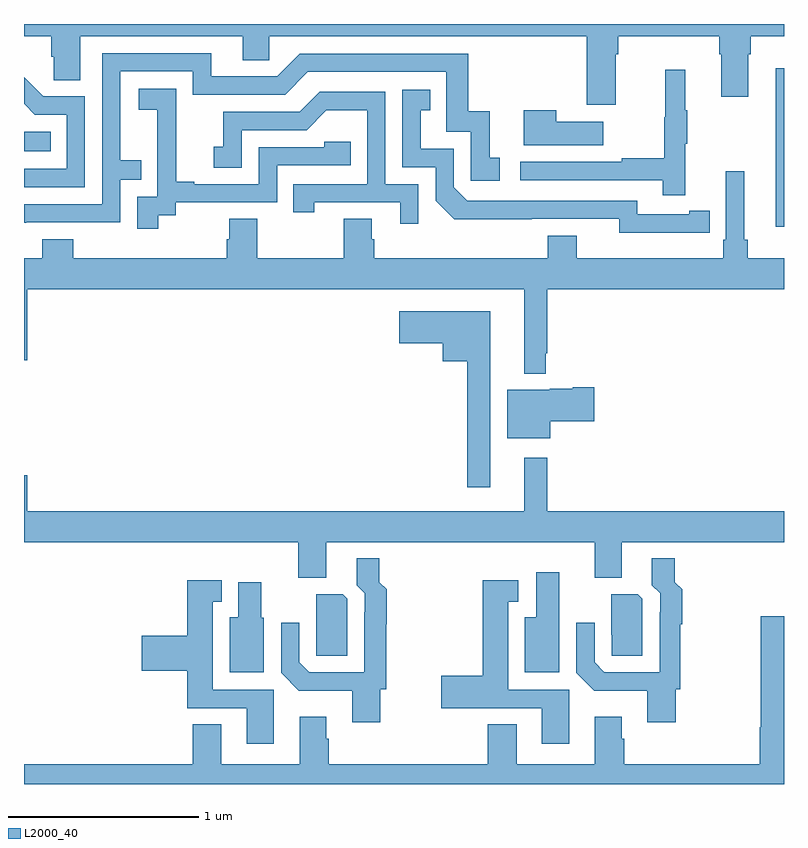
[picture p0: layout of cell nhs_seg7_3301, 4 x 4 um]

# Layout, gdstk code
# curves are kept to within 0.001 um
import gdstk
lib = gdstk.Library(unit=1e-6, precision=1e-09)
def R(c, l, rs):  # rectangles x0, y0, x1, y1
    for r in rs: c.add(gdstk.rectangle(r[:2], r[2:], *l))
def P(c, l, *ps):  # polygons
    for p in ps: c.add(gdstk.Polygon(p, *l))
L2000_40 = (2000, 40)

nhs_seg7_3301 = lib.new_cell('nhs_seg7_3301')
R(nhs_seg7_3301, L2000_40, [(324.956,1012.932,325,1013.767), (321,1013.33,321.14,1013.434)])
P(nhs_seg7_3301, L2000_40, [(324.115,1013.84),(324.128,1013.84),(324.128,1013.936),(324.659,1013.936),(324.659,1013.84),(324.671,1013.84),(324.671,1013.616),(324.811,1013.616),(324.811,1013.84),(324.824,1013.84),(324.824,1013.936),(325,1013.936),(325,1014),(321,1014),(321,1013.936),(321.143,1013.936),(321.143,1013.827),(321.156,1013.827),(321.156,1013.704),(321.295,1013.704),(321.295,1013.936),(322.151,1013.936),(322.151,1013.809),(322.29,1013.809),(322.29,1013.936),(323.963,1013.936),(323.963,1013.574),(324.115,1013.574)],
  [(321.011,1012.956),(321.507,1012.956),(321.507,1013.181),(321.617,1013.181),(321.617,1013.282),(321.507,1013.282),(321.507,1013.751),(321.888,1013.751),(321.888,1013.628),(322.374,1013.628),(322.494,1013.748),(323.223,1013.748),(323.223,1013.433),(323.352,1013.433),(323.352,1013.175),(323.503,1013.175),(323.503,1013.295),(323.45,1013.295),(323.45,1013.542),(323.339,1013.542),(323.339,1013.844),(322.452,1013.844),(322.332,1013.724),(321.985,1013.724),(321.985,1013.847),(321.411,1013.847),(321.411,1013.052),(321,1013.052),(321,1012.955)],
  [(324.479,1013.371),(324.49,1013.371),(324.49,1013.545),(324.479,1013.545),(324.479,1013.758),(324.376,1013.758),(324.376,1013.508),(324.369,1013.508),(324.369,1013.294),(324.145,1013.294),(324.145,1013.274),(323.613,1013.274),(323.613,1013.178),(324.361,1013.178),(324.361,1013.1),(324.479,1013.1)],
  [(321.321,1013.619),(321.102,1013.619),(321,1013.721),(321,1013.579),(321.056,1013.523),(321.225,1013.523),(321.225,1013.238),(321,1013.238),(321,1013.142),(321.321,1013.142)],
  [(321.706,1012.993),(321.798,1012.993),(321.798,1013.061),(322.332,1013.061),(322.332,1013.256),(322.721,1013.256),(322.721,1013.379),(322.581,1013.379),(322.581,1013.352),(322.236,1013.352),(322.236,1013.157),(321.895,1013.157),(321.895,1013.17),(321.8,1013.17),(321.8,1013.453),(321.801,1013.453),(321.801,1013.659),(321.603,1013.659),(321.603,1013.549),(321.701,1013.549),(321.701,1013.321),(321.702,1013.321),(321.702,1013.091),(321.597,1013.091),(321.597,1012.923),(321.706,1012.923)],
  [(324.5,1012.902),(324.608,1012.902),(324.608,1013.018),(324.5,1013.018),(324.5,1012.998),(324.228,1012.998),(324.228,1013.07),(323.334,1013.07),(323.262,1013.142),(323.262,1013.343),(323.089,1013.343),(323.089,1013.547),(323.138,1013.547),(323.138,1013.653),(322.992,1013.653),(322.992,1013.247),(323.166,1013.247),(323.166,1013.07),(323.264,1012.973),(324.132,1012.974),(324.132,1012.901)],
  [(323.076,1013.157),(322.902,1013.157),(322.902,1013.643),(322.556,1013.643),(322.451,1013.538),(322.048,1013.538),(322.048,1013.353),(321.999,1013.353),(321.999,1013.244),(322.146,1013.244),(322.146,1013.442),(322.488,1013.442),(322.592,1013.546),(322.806,1013.546),(322.806,1013.157),(322.417,1013.157),(322.417,1013.01),(322.528,1013.01),(322.528,1013.061),(322.979,1013.061),(322.979,1012.95),(323.076,1012.95)],
  [(324.049,1013.485),(323.801,1013.485),(323.801,1013.545),(323.63,1013.545),(323.63,1013.363),(324.049,1013.363)],
  [(323.747,1012.267),(323.755,1012.267),(323.755,1012.604),(325,1012.604),(325,1012.768),(324.809,1012.768),(324.809,1012.864),(324.79,1012.864),(324.79,1013.224),(324.693,1013.224),(324.693,1012.864),(324.68,1012.864),(324.68,1012.768),(323.908,1012.768),(323.908,1012.885),(323.756,1012.885),(323.756,1012.768),(322.844,1012.768),(322.844,1012.866),(322.831,1012.866),(322.831,1012.976),(322.684,1012.976),(322.684,1012.768),(322.227,1012.768),(322.227,1012.976),(322.079,1012.976),(322.079,1012.866),(322.067,1012.866),(322.067,1012.768),(321.26,1012.768),(321.26,1012.867),(321.095,1012.867),(321.095,1012.768),(321,1012.768),(321,1012.23),(321.016,1012.23),(321.016,1012.604),(323.633,1012.604),(323.633,1012.16),(323.747,1012.16)],
  [(323.455,1012.489),(322.974,1012.489),(322.974,1012.319),(323.204,1012.319),(323.204,1012.226),(323.334,1012.226),(323.334,1011.561),(323.455,1011.561)],
  [(323.77,1011.91),(324.001,1011.91),(324.001,1012.088),(323.888,1012.088),(323.888,1012.081),(323.766,1012.081),(323.766,1012.075),(323.543,1012.075),(323.543,1011.821),(323.77,1011.821)],
  [(322.591,1011.272),(324.005,1011.272),(324.005,1011.085),(324.145,1011.085),(324.145,1011.272),(325,1011.272),(325,1011.436),(323.755,1011.436),(323.755,1011.718),(323.633,1011.718),(323.633,1011.436),(321.016,1011.436),(321.016,1011.625),(321,1011.625),(321,1011.272),(322.444,1011.272),(322.444,1011.085),(322.591,1011.085)],
  [(324.429,1010.499),(324.454,1010.499),(324.454,1010.842),(324.464,1010.842),(324.464,1011.024),(324.425,1011.063),(324.425,1011.187),(324.305,1011.187),(324.305,1011.046),(324.348,1011.003),(324.348,1010.903),(324.345,1010.903),(324.345,1010.589),(324.054,1010.589),(324.003,1010.64),(324.003,1010.848),(323.907,1010.848),(323.907,1010.586),(324.001,1010.492),(324.281,1010.492),(324.281,1010.325),(324.429,1010.325)],
  [(322.875,1010.499),(322.907,1010.499),(322.907,1010.842),(322.91,1010.842),(322.91,1011.024),(322.871,1011.063),(322.871,1011.187),(322.751,1011.187),(322.751,1011.046),(322.794,1011.003),(322.794,1010.903),(322.791,1010.903),(322.791,1010.589),(322.5,1010.589),(322.449,1010.64),(322.449,1010.848),(322.353,1010.848),(322.353,1010.586),(322.447,1010.492),(322.727,1010.492),(322.727,1010.325),(322.875,1010.325)],
  [(323.818,1011.115),(323.696,1011.115),(323.696,1010.878),(323.636,1010.878),(323.636,1010.588),(323.818,1010.588)],
  [(323.869,1010.496),(323.548,1010.496),(323.548,1010.96),(323.602,1010.96),(323.602,1011.073),(323.414,1011.073),(323.414,1010.57),(323.196,1010.57),(323.196,1010.399),(323.457,1010.399),(323.457,1010.4),(323.726,1010.4),(323.726,1010.211),(323.869,1010.211)],
  [(322.315,1010.496),(321.994,1010.496),(321.994,1010.96),(322.042,1010.96),(322.042,1011.073),(321.86,1011.073),(321.86,1010.78),(321.621,1010.78),(321.621,1010.597),(321.86,1010.597),(321.86,1010.4),(322.172,1010.4),(322.172,1010.211),(322.315,1010.211)],
  [(322.261,1010.874),(322.249,1010.874),(322.249,1011.061),(322.127,1011.061),(322.127,1010.878),(322.082,1010.878),(322.082,1010.588),(322.261,1010.588)],
  [(324.255,1010.976),(324.231,1011),(324.092,1011),(324.092,1010.785),(324.093,1010.785),(324.093,1010.674),(324.255,1010.674)],
  [(322.701,1010.976),(322.677,1011),(322.538,1011),(322.538,1010.785),(322.539,1010.785),(322.539,1010.674),(322.701,1010.674)],
  [(325,1010.883),(324.877,1010.883),(324.877,1010.3),(324.872,1010.3),(324.872,1010.104),(324.158,1010.104),(324.158,1010.237),(324.145,1010.237),(324.145,1010.353),(324.005,1010.353),(324.005,1010.104),(323.593,1010.104),(323.593,1010.314),(323.441,1010.314),(323.441,1010.104),(322.604,1010.104),(322.604,1010.237),(322.591,1010.237),(322.591,1010.353),(322.451,1010.353),(322.451,1010.104),(322.039,1010.104),(322.039,1010.315),(321.887,1010.315),(321.887,1010.104),(321,1010.104),(321,1010),(325,1010)])

lib.write_gds('nhs_seg7_3301.gds')
